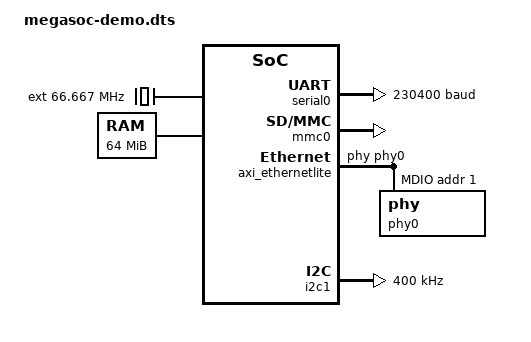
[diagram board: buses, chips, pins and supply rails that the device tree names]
/dts-v1/;

#include <dt-bindings/interrupt-controller/irq.h>

/ {
	compatible = "MegaSoC,Demo";
	#address-cells = <1>;
	#size-cells = <1>;

	chosen {
		bootargs = "console=ttyS0,230400n8 root=/dev/mmcblk0p2 rootfstype=ext4 rw rootwait";
	};

	aliases {
        serial0 = &serial0;
        mmc0 = &mmc0;
    };

	cpus {
		#address-cells = <1>;
		#size-cells = <0>;
		cpu@0 {
			device_type = "cpu";
			compatible = "mips,4Kc";
			clocks = <&ext>;
			reg = <0>;
		};
	};

	ext: ext {
		compatible = "fixed-clock";
		clock-frequency = <66666666>;
		#clock-cells = <0>;
	};

	utmiclk: utmiclk {
		compatible = "fixed-clock";
		clock-frequency = <60000000>;
		#clock-cells = <0>;
	};

	socclk: socclk {
		compatible = "fixed-clock";
		clock-frequency = <166666666>;
		#clock-cells = <0>;
	};

	memory {
		device_type = "memory";
		reg = <0x0 0x4000000>;
	};

	cpuintc: interrupt-controller@0 {
		#address-cells = <0>;
		#interrupt-cells = <1>;
		interrupt-controller;
		compatible = "mti,cpu-interrupt-controller";
	};

	soc {
		compatible = "simple-bus";
		#address-cells = <1>;
		#size-cells = <1>;
		#interrupt-cells = <1>;
		ranges;

		axi_intc_0: interrupt-controller@1fb00000 {
			#interrupt-cells = <1>;
			compatible = "xlnx,xps-intc-1.00.a";
			interrupt-controller;
			interrupt-parent = <&cpuintc>;
			interrupts = <2>;
			reg = <0x1fb00000 0x1000>;
			xlnx,kind-of-intr = <0x1>;
			xlnx,num-intr-inputs = <0x8>;
		};

		serial0: serial@1fe40000 {
			device_type = "serial";
			compatible = "ns16550a";
			reg = <0x1fe40000 0x1000>;
			reg-offset = <0x0000>;
			reg-io-width = <1>;
			reg-shift = <0>;
			current-speed = <230400>;
            clocks = <&socclk>;
			interrupt-parent = <&axi_intc_0>;
			interrupts = <2>;
		};


        mmc0: ocsdc@1fe10000 {
            compatible = "opencores,ocsdc";
            reg = <0x1fe10000 0x64>;
            clocks = <&socclk>;
            interrupt-parent = <&axi_intc_0>;
            interrupts = <3 4>;
        };

        axi_ethernetlite: ethernet@1ff00000 {
			compatible = "xlnx,xps-ethernetlite-3.00.a";
			device_type = "network";
			mac-address = [19 98 00 01 00 29];
			phy-handle = <&phy0>;
			reg = <0x1ff00000 0x10000>;
			xlnx,duplex = <0x1>;
			xlnx,include-global-buffers = <0x1>;
			xlnx,include-internal-loopback = <0x0>;
			xlnx,include-mdio = <0x1>;
			xlnx,instance = "axi_ethernetlite_inst";
			xlnx,rx-ping-pong = <0x1>;
			xlnx,s-axi-id-width = <0x1>;
			xlnx,tx-ping-pong = <0x1>;
			xlnx,use-internal = <0x0>;
			interrupt-parent = <&axi_intc_0>;
			interrupts = <0>;
			mdio {
				#address-cells = <1>;
				#size-cells = <0>;
				phy0: phy@1 {
					device_type = "ethernet-phy";
					reg = <1>;
				} ;
			} ;
		} ;

                i2c1: i2c@1fe50000 {
                    compatible = "opencores,i2c-ocores";
                    reg = <0x1fe50000 0x1000>;
                    interrupts = <7>;
                    interrupt-parent = <&axi_intc_0>;
                    clocks = <&socclk>;
                    clock-frequency = <400000>;
                    reg-shift = <0>;	/* 8 bit registers */
                    reg-io-width = <1>;	/* 8 bit read/write */
                };
	};
};
